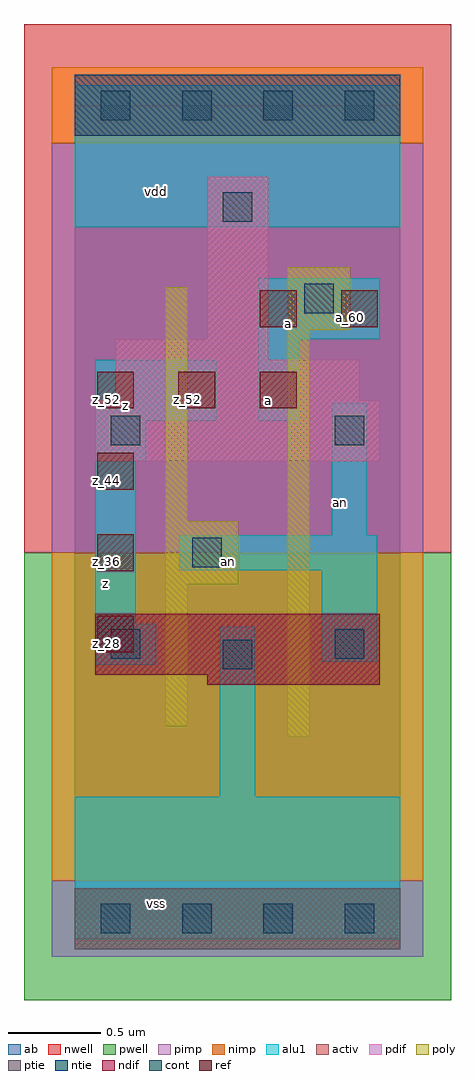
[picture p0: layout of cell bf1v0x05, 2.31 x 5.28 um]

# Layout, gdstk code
import gdstk
lib = gdstk.Library(unit=1e-6, precision=2.5e-09)
def R(c, l, rs):  # rectangles x0, y0, x1, y1
    for r in rs: c.add(gdstk.rectangle(r[:2], r[2:], *l))
def A(c, l, x, y, w, h, nx, ny, dx, dy):  # array of equal rectangles
    R(c, l, [(x+i*dx, y+j*dy, x+i*dx+w, y+j*dy+h) for i in range(nx) for j in range(ny)])
ndif = (3, 0)
pdif = (4, 0)
ntie = (5, 0)
ptie = (6, 0)
ref = (24, 0)
cont = (25, 0)
pwell = (41, 0)
nwell = (42, 0)
activ = (43, 0)
pimp = (44, 0)
nimp = (45, 0)
poly = (46, 0)
alu1 = (49, 0)
ab = (63, 0)

bf1v0x05 = lib.new_cell('bf1v0x05')
R(bf1v0x05, ndif, [(0.715,1.265,1.65,1.32), (0.11,1.32,1.65,1.65)])
R(bf1v0x05, pdif, [(0.11,2.475,1.65,2.805), (0.22,2.805,1.54,3.025), (0.22,3.025,1.045,3.135), (0.715,3.135,1.045,4.015)])
R(bf1v0x05, ntie, [(0,4.235,1.76,4.565)])
R(bf1v0x05, ptie, [(0,-0.165,1.76,0.165)])
A(bf1v0x05, ref, 0.12, 1.44, 0.2, 0.2, 1, 3, 0, 0.44)
A(bf1v0x05, ref, 0.12, 2.76, 0.2, 0.2, 3, 1, 0.44, 0)
R(bf1v0x05, ref, [(1,3.2,1.2,3.4), (1.44,3.2,1.64,3.4)])
A(bf1v0x05, cont, 0.14, -0.08, 0.16, 0.16, 4, 2, 0.44, 4.4)
R(bf1v0x05, cont, [(0.8,1.35,0.96,1.51), (0.195,1.405,0.355,1.565), (1.405,1.405,1.565,1.565), (0.635,1.9,0.795,2.06), (0.195,2.56,0.355,2.72), (1.405,2.56,1.565,2.72), (1.24,3.275,1.4,3.435), (0.8,3.77,0.96,3.93)])
R(bf1v0x05, pwell, [(-0.275,-0.44,2.035,1.98)])
R(bf1v0x05, nwell, [(-0.275,1.98,2.035,4.84)])
R(bf1v0x05, activ, [(0,-0.165,1.76,0.165), (0.715,1.265,1.65,1.32), (0.11,1.32,1.65,1.65), (0.11,2.475,1.65,2.805), (0.22,2.805,1.54,3.025), (0.22,3.025,1.045,3.135), (0.715,3.135,1.045,4.015), (0,4.235,1.76,4.565)])
R(bf1v0x05, pimp, [(-0.125,-0.205,1.885,0.205), (-0.125,1.98,1.885,4.195)])
R(bf1v0x05, nimp, [(-0.125,0.205,1.885,1.98), (-0.125,4.195,1.885,4.605)])
R(bf1v0x05, poly, [(1.15,0.985,1.27,3.185), (0.49,1.04,0.61,1.81), (0.49,1.81,0.885,2.15), (0.49,2.15,0.61,3.415), (1.15,3.185,1.49,3.525)])
R(bf1v0x05, alu1, [(0,-0.11,1.76,0.66), (0.785,0.66,0.975,1.58), (0.11,1.375,0.44,1.595), (1.335,1.39,1.635,1.885), (0.11,1.595,0.33,2.475), (0.565,1.885,1.635,2.075), (1.39,2.075,1.58,2.79), (0.11,2.475,0.385,2.695), (0.11,2.695,0.77,3.025), (0.99,2.695,1.21,3.135), (0.99,3.135,1.65,3.465), (0,3.74,1.76,4.51)])
R(bf1v0x05, ab, [(0,0,1.76,4.4)])
bf1v0x05.add(gdstk.Label('vss', (0.44,0.0825), layer=49, texttype=0))
bf1v0x05.add(gdstk.Label('an', (0.8325,1.9325), layer=49, texttype=0))
bf1v0x05.add(gdstk.Label('an', (1.4375,2.2525), layer=49, texttype=0))
bf1v0x05.add(gdstk.Label('z', (0.165,1.815), layer=49, texttype=0))
bf1v0x05.add(gdstk.Label('a', (1.045,2.805), layer=49, texttype=0))
bf1v0x05.add(gdstk.Label('z', (0.275,2.7775), layer=49, texttype=0))
bf1v0x05.add(gdstk.Label('a', (1.155,3.2175), layer=49, texttype=0))
bf1v0x05.add(gdstk.Label('vdd', (0.44,3.9325), layer=49, texttype=0))
bf1v0x05.add(gdstk.Label('z_52', (0.61,2.81), layer=24, texttype=0))
bf1v0x05.add(gdstk.Label('a_52', (1.05,2.81), layer=24, texttype=0))
bf1v0x05.add(gdstk.Label('a_60', (1.05,3.25), layer=24, texttype=0))
bf1v0x05.add(gdstk.Label('a_60', (1.49,3.25), layer=24, texttype=0))
bf1v0x05.add(gdstk.Label('z_28', (0.17,1.49), layer=24, texttype=0))
bf1v0x05.add(gdstk.Label('z_36', (0.17,1.93), layer=24, texttype=0))
bf1v0x05.add(gdstk.Label('z_44', (0.17,2.37), layer=24, texttype=0))
bf1v0x05.add(gdstk.Label('z_52', (0.17,2.81), layer=24, texttype=0))

lib.write_gds('bf1v0x05.gds')
